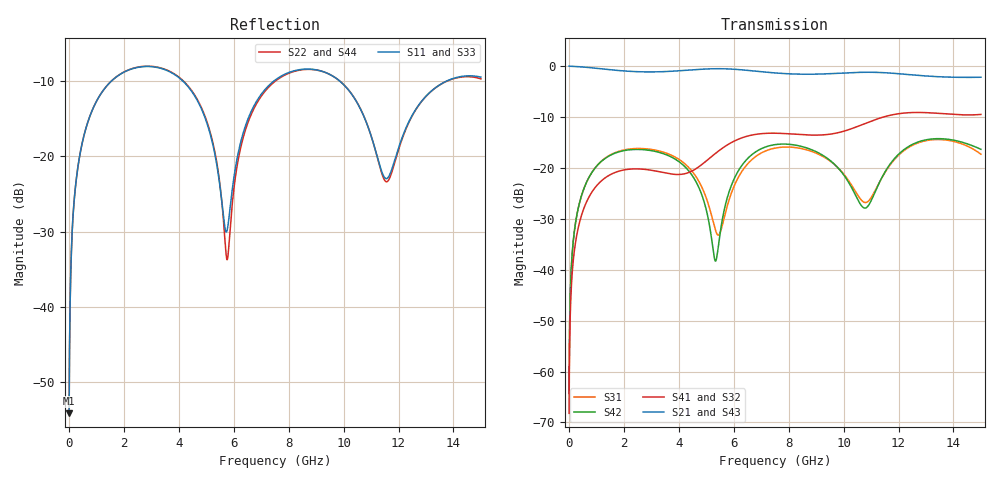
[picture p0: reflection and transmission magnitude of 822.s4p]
! Created with skrf 1.8.0 (http://scikit-rf.org).
# GHz S RI R 50.0
!freq ReS11 ImS11 ReS12 ImS12 ReS13 ImS13
! ReS14 ImS14
! ReS21 ImS21 ReS22 ImS22 ReS23 ImS23
! ReS24 ImS24
! ReS31 ImS31 ReS32 ImS32 ReS33 ImS33
! ReS34 ImS34
! ReS41 ImS41 ReS42 ImS42 ReS43 ImS43
! ReS44 ImS44
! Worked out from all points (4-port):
!   2499 points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, 5 MHz to 15 GHz, reference 50 ohm
!   strongest paths, dB at 5 MHz, 3.476 GHz, 7.19 GHz, 11.1 GHz, 15 GHz:
!     S21: 0.0, -1.1, -1.2, -1.2, -2.2
!     S43: 0.0, -1.1, -1.2, -1.2, -2.2
!     S41: -68.2, -21.0, -13.2, -10.6, -9.5
!     S32: -68.2, -21.0, -13.2, -10.6, -9.5
!     S42: -64.3, -17.3, -15.8, -25.3, -16.3
!     S31: -64.3, -17.0, -16.6, -25.0, -17.3
!   lowest |S11| = -54.1 dB at 5 MHz (marker M1), VSWR 1.00, Z = 50.2 + j0.119 ohm
!   |S11| at or under -10 dB: start of sweep to 1.556 GHz; 4.138 GHz to 7.471 GHz (3.334 GHz wide, 57.4 % of centre); 9.848 GHz to 13.77 GHz (3.921 GHz wide, 33.2 % of centre)
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0.005  0.00156 0.00119  0.9984 -0.00304  7.78e-05 0.000605  -7.56e-05 -0.000381
       0.9984 -0.00304  0.00156 0.00119  -7.56e-05 -0.000381  7.77e-05 0.000605
       7.78e-05 0.000605  -7.56e-05 -0.000381  0.00156 0.00119  0.9984 -0.00304
       -7.56e-05 -0.000381  7.77e-05 0.000605  0.9984 -0.00304  0.00156 0.00119
0.3126303  0.0221 0.0787  0.9698 -0.1897  0.01 0.0361  -0.00826 -0.0226
           0.9698 -0.1897  0.0222 0.0786  -0.00825 -0.0226  0.00971 0.0361
           0.01 0.0361  -0.00825 -0.0226  0.0221 0.0787  0.9698 -0.1897
           -0.00826 -0.0226  0.00971 0.0361  0.9698 -0.1897  0.0222 0.0786
1.569404  0.259 0.1843  0.5729 -0.7162  0.1233 0.0599  -0.087 -0.00998
          0.5729 -0.7162  0.2606 0.1833  -0.0869 -0.0101  0.1188 0.0656
          0.1233 0.0599  -0.0869 -0.0101  0.2591 0.1842  0.5729 -0.7162
          -0.087 -0.00998  0.1188 0.0656  0.5729 -0.7162  0.2605 0.1834
5.589829  0.0332 -0.031  -0.9306 -0.1451  -0.019 0.0202  -0.0188 0.1553
          -0.9306 -0.1451  0.0229 -0.0386  -0.022 0.1549  0.0156 0.0277
          -0.019 0.0202  -0.022 0.1549  0.0317 -0.0303  -0.9306 -0.145
          -0.0188 0.1553  0.0156 0.0277  -0.9306 -0.145  0.024 -0.0376
8.947478  0.3732 -0.0417  0.0265 0.8326  0.112 -0.0866  0.1998 -0.0645
          0.0265 0.8326  0.3725 -0.0371  0.2002 -0.0576  0.114 -0.0919
          0.112 -0.0866  0.2002 -0.0576  0.3738 -0.0415  0.0257 0.8328
          0.1998 -0.0645  0.114 -0.0919  0.0257 0.8328  0.3714 -0.0365
11.69237  0.0742 0.0176  0.8535 0.0393  0.0103 0.1064  -0.00207 -0.3287
          0.8535 0.0393  0.0707 0.0165  0.0104 -0.3286  0.017 0.1075
          0.0103 0.1064  0.0104 -0.3286  0.0726 0.0212  0.8535 0.0404
          -0.00207 -0.3287  0.017 0.1075  0.8535 0.0404  0.072 0.0169
15  0.3307 -0.0508  -0.0692 -0.7741  0.0682 -0.1182  -0.3261 0.0775
    -0.0692 -0.7741  0.3204 -0.0591  -0.3283 0.0593  0.0587 -0.1405
    0.0682 -0.1182  -0.3283 0.0593  0.3345 -0.0505  -0.0656 -0.7738
    -0.3261 0.0775  0.0587 -0.1405  -0.0656 -0.7738  0.3212 -0.0564
